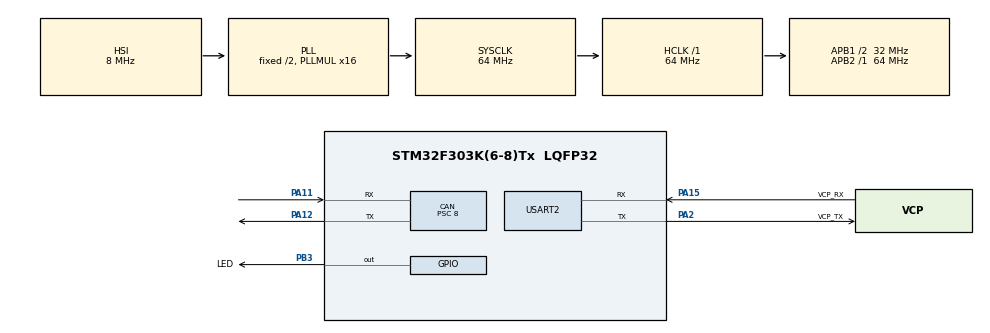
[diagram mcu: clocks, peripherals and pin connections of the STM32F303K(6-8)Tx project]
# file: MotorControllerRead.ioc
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CAN.BS1=CAN_BS1_2TQ
CAN.CalculateBaudRate=1000000
CAN.CalculateTimeBit=1000
CAN.CalculateTimeQuantum=250.0
CAN.Prescaler=8
Mcu.Family=STM32F3
Mcu.Name=STM32F303K(6-8)Tx
Mcu.Package=LQFP32
NVIC.CAN_RX0_IRQn=true\:0\:0\:false\:false\:true\:true\:true\:true
NVIC.CAN_RX1_IRQn=true\:0\:0\:false\:false\:true\:true\:true\:true
NVIC.CAN_SCE_IRQn=true\:0\:0\:false\:false\:true\:true\:true\:true
NVIC.CAN_TX_IRQn=true\:0\:0\:false\:false\:true\:true\:true\:true
NVIC.PriorityGroup=NVIC_PRIORITYGROUP_4
PA11.GPIO_PuPd=GPIO_PULLUP
PA11.Mode=CAN_Activate
PA11.Signal=CAN_RX
PA12.Mode=CAN_Activate
PA12.Signal=CAN_TX
PA13.GPIO_Label=SWDIO
PA13.Mode=Serial_Wire
PA13.Signal=SYS_JTMS-SWDIO
PA14.GPIO_Label=SWCLK
PA14.Mode=Serial_Wire
PA14.Signal=SYS_JTCK-SWCLK
PA15.GPIO_Label=VCP_RX
PA15.Mode=Asynchronous
PA15.Signal=USART2_RX
PA2.GPIO_Label=VCP_TX
PA2.Mode=Asynchronous
PA2.Signal=USART2_TX
PB3.GPIO_Label=LED
PB3.Signal=GPIO_Output
PF0\ /\ OSC_IN.GPIO_Label=MCO
PF0\ /\ OSC_IN.Mode=HSE-External-Clock-Source
PF0\ /\ OSC_IN.Signal=RCC_OSC_IN
ProjectManager.HeapSize=0x200
ProjectManager.StackSize=0x400
ProjectManager.TargetToolchain=STM32CubeIDE
RCC.AHBFreq_Value=64000000
RCC.APB1CLKDivider=RCC_HCLK_DIV2
RCC.APB1Freq_Value=32000000
RCC.APB1TimFreq_Value=64000000
RCC.APB2Freq_Value=64000000
RCC.APB2TimFreq_Value=64000000
RCC.CortexFreq_Value=64000000
RCC.HCLKFreq_Value=64000000
RCC.HSE_VALUE=8000000
RCC.HSI_VALUE=8000000
RCC.PLLMUL=RCC_PLL_MUL16
RCC.SYSCLKFreq_VALUE=64000000
RCC.SYSCLKSourceVirtual=RCC_SYSCLKSOURCE_PLLCLK
USART2.VirtualMode-Asynchronous=VM_ASYNC
board=NUCLEO-F303K8

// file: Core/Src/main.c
/* USER CODE BEGIN Header */
/**
  ******************************************************************************
  * @file           : main.c
  * @brief          : Main program body
  ******************************************************************************
  * @attention
  *
  * Copyright (c) 2025 STMicroelectronics.
  * All rights reserved.
  *
  * This software is licensed under terms that can be found in the LICENSE file
  * in the root directory of this software component.
  * If no LICENSE file comes with this software, it is provided AS-IS.
  *
  ******************************************************************************
  */
/* USER CODE END Header */
#include "main.h"

/* USER CODE BEGIN Includes */
#include <stdbool.h>

/* USER CODE END Includes */

CAN_HandleTypeDef hcan;

UART_HandleTypeDef huart2;

void SystemClock_Config(void);
static void MX_GPIO_Init(void);
static void MX_USART2_UART_Init(void);
static void MX_CAN_Init(void);

/* USER CODE BEGIN 0 */
bool received = false;
CAN_RxHeaderTypeDef RxHeader;
uint8_t RxData[8];
uint32_t TxMailbox;
CAN_TxHeaderTypeDef TxHeader;
uint8_t TxData[8];

void HAL_CAN_RxFifo0MsgPendingCallback(CAN_HandleTypeDef *hcan)
{
	HAL_CAN_GetRxMessage(hcan, CAN_RX_FIFO0, &RxHeader, RxData);
	received = true;
}

void sendMessage8(int DLC, int d0, int d1, int d2, int d3, int d4, int d5, int d6, int d7)
{
	received = false;

	  TxHeader.DLC = DLC;
	  TxHeader.IDE = CAN_ID_STD;
	  TxHeader.RTR = CAN_RTR_DATA;
	  TxHeader.StdId = 0x6B; // ID

	  TxData[0] = d0;
	  TxData[1] = d1;
	  TxData[2] = d2;
	  TxData[3] = d3;
	  TxData[4] = d4;
	  TxData[5] = d5;
	  TxData[6] = d6;
	  TxData[7] = d7;

	  if(HAL_CAN_AddTxMessage(&hcan, &TxHeader, TxData, &TxMailbox) != HAL_OK) while(true)
	  {
		  HAL_GPIO_TogglePin(LED_GPIO_Port, LED_Pin);
		  HAL_Delay(100);
	  }
	  HAL_Delay(100);
}

void sendMessage7(int DLC, int d0, int d1, int d2, int d3, int d4, int d5, int d6)
{
	sendMessage8(DLC, d0, d1, d2, d3, d4, d5, d6, 0);
}

void sendMessage6(int DLC, int d0, int d1, int d2, int d3, int d4, int d5)
{
	sendMessage7(DLC, d0, d1, d2, d3, d4, d5, 0);
}

void sendMessage5(int DLC, int d0, int d1, int d2, int d3, int d4)
{
	sendMessage6(DLC, d0, d1, d2, d3, d4, 0);
}

void sendMessage4(int DLC, int d0, int d1, int d2, int d3)
{
	sendMessage5(DLC, d0, d1, d2, d3, 0);
}

void sendMessage3(int DLC, int d0, int d1, int d2)
{
	sendMessage4(DLC, d0, d1, d2, 0);
}

void sendMessage2(int DLC, int d0, int d1)
{
	sendMessage3(DLC, d0, d1, 0);
}

void sendMessage1(int DLC, int d0)
{
	sendMessage2(DLC, d0, 0);
}

void sendMessage0(int DLC)
{
	sendMessage1(DLC, 0);
}

void waitForMessage()
{
	HAL_GPIO_TogglePin(LED_GPIO_Port, LED_Pin);
	while(!received)
	{
		HAL_GPIO_TogglePin(LED_GPIO_Port, LED_Pin);
		HAL_Delay(1000);
	}
	HAL_GPIO_WritePin(LED_GPIO_Port, LED_Pin, 1);
}

/* USER CODE END 0 */

int main(void)
{

  /* MCU Configuration--------------------------------------------------------*/

  /* Reset of all peripherals, Initializes the Flash interface and the Systick. */
  HAL_Init();

  /* Configure the system clock */
  SystemClock_Config();

  /* USER CODE BEGIN SysInit */
  MX_GPIO_Init();

  /* USER CODE END SysInit */

  /* Initialize all configured peripherals */
  MX_GPIO_Init();
  MX_USART2_UART_Init();
  MX_CAN_Init();
  /* USER CODE BEGIN 2 */
  HAL_CAN_Start(&hcan);
  HAL_CAN_ActivateNotification(&hcan, CAN_IT_RX_FIFO0_MSG_PENDING);
  HAL_Delay(30);

  /* USER CODE END 2 */

  /* Infinite loop */
  while (1)
  {

    /* USER CODE BEGIN 3 */

	HAL_GPIO_WritePin(LED_GPIO_Port, LED_Pin, 1);

	sendMessage1(1, 0xFF);//CCP_FLASH_READ   INFO_MODULE_NAME, get controller model
	waitForMessage();
	int error = RxData[0];

	sendMessage3(3, 0xF2, 64, 8);//CCP_FLASH_READ   INFO_MODULE_NAME, get controller model
	waitForMessage();
	char model[8];
	for(int i = 0; i < 8; i++) model[i] = (char)RxData[i];

	sendMessage3(3, 0xF2, 83, 2);//CCP_FLASH_READ   INFO_SOFTWARE_VER, get controller software version
	waitForMessage();
	uint8_t version[2];
	for(int i = 0; i < 2; i++) model[i] = RxData[i];

	sendMessage3(3, 0xF2, 4, 1);//CCP_FLASH_READ   CAL_TPS_DEAD_ZONE_LOW, get throttle low dead zone
	waitForMessage();
	int TLDeadZone = RxData[0]/2;

	sendMessage3(3, 0xF2, 5, 1);//CCP_FLASH_READ   CAL_TPS_DEAD_ZONE_HIGH, get throttle high dead zone
	waitForMessage();
	int THDeadZone = RxData[0]/2;

	sendMessage3(3, 0xF2, 38, 1);//CCP_FLASH_READ   CAL_BRAKE_DEAD_ZONE_LOW, get brake low dead zone
	waitForMessage();
	int BLDeadZone = RxData[0];

	sendMessage3(3, 0xF2, 39, 1);//CCP_FLASH_READ   CAL_BRAKE_DEAD_ZONE_HIGH, get brake high dead zone
	waitForMessage();
	int BHDeadZone = RxData[0];

	sendMessage1(1, 0x1B);//CCP_A2D_BATCH_READ1, BrakeA/D  TPS A/D  Operation Voltage A/D  Vs A/D  B+ A/D
	waitForMessage();
	double BrakeAD = RxData[0]/51.0;
	double TPSAD = RxData[1]/51.0;
	double OpVAD = RxData[2]/2.05;
	double VsAD = RxData[3]/25.0;
	double BPAD = RxData[4]/2.05;

	sendMessage1(1, 0x1A);//CCP_A2D_BATCH_READ2, la A/D  lb A/D  lc A/D Va A/D  Vb A/D  Vc A/D
	waitForMessage();
	int laAD = RxData[0];
	int lbAD = RxData[1];
	int lcAD = RxData[2];
	double VaAD = RxData[3]/2.05;
	double VbAD = RxData[4]/2.05;
	double VcAD = RxData[5]/2.05;

	sendMessage1(1, 0x33);//CCP_MONITOR1, PWM  enable motor rotation  mototr temp  controller temp  hot end MOSFET  cold end MOSFET
	waitForMessage();
	int PWM = RxData[0];
	bool motorOn = RxData[1] == 1;
	int motorTemp = RxData[2] - 80;
	int motorTempF = motorTemp * 9/5 + 32;
	bool motorTempConnected = motorTemp != 0xFF;
	int ContTemp = RxData[3];
	int ContTempHighMOSFET = RxData[4];
	int ContTempLowMOSFET = RxData[5];

	sendMessage1(1, 0x37);//CCP_MONITOR2, RPM  present current accounts for percent of the rated current of controller
	waitForMessage();
	int RPM = RxData[0] * 256;
	RPM += RxData[1];
	int PCAFPOTRCOC = RxData[2];

	sendMessage2(2, 0x42, 0);//COM_SW_ACC, Throttle switch
	waitForMessage();
	bool throttleSwitch = RxData[0] == 1;

	sendMessage2(2, 0x43, 0);//COM_SW_BRK, Brake switch
	waitForMessage();
	bool BrakeSwitch = RxData[0] == 1;

	sendMessage2(2, 0x44, 0);//COM_SW_REV, Reverse switch
	waitForMessage();
	bool ReverseSwitch = RxData[0] == 1;

	HAL_GPIO_WritePin(LED_GPIO_Port, LED_Pin, 0);
	HAL_Delay(10);
  }
  /* USER CODE END 3 */
}

void SystemClock_Config(void)
{
  RCC_OscInitTypeDef RCC_OscInitStruct = {0};
  RCC_ClkInitTypeDef RCC_ClkInitStruct = {0};

  /** Initializes the RCC Oscillators according to the specified parameters
  * in the RCC_OscInitTypeDef structure.
  */
  RCC_OscInitStruct.OscillatorType = RCC_OSCILLATORTYPE_HSI;
  RCC_OscInitStruct.HSIState = RCC_HSI_ON;
  RCC_OscInitStruct.HSICalibrationValue = RCC_HSICALIBRATION_DEFAULT;
  RCC_OscInitStruct.PLL.PLLState = RCC_PLL_ON;
  RCC_OscInitStruct.PLL.PLLSource = RCC_PLLSOURCE_HSI;
  RCC_OscInitStruct.PLL.PLLMUL = RCC_PLL_MUL16;
  if (HAL_RCC_OscConfig(&RCC_OscInitStruct) != HAL_OK)
  {
    Error_Handler();
  }

  /** Initializes the CPU, AHB and APB buses clocks
  */
  RCC_ClkInitStruct.ClockType = RCC_CLOCKTYPE_HCLK|RCC_CLOCKTYPE_SYSCLK
                              |RCC_CLOCKTYPE_PCLK1|RCC_CLOCKTYPE_PCLK2;
  RCC_ClkInitStruct.SYSCLKSource = RCC_SYSCLKSOURCE_PLLCLK;
  RCC_ClkInitStruct.AHBCLKDivider = RCC_SYSCLK_DIV1;
  RCC_ClkInitStruct.APB1CLKDivider = RCC_HCLK_DIV2;
  RCC_ClkInitStruct.APB2CLKDivider = RCC_HCLK_DIV1;

  if (HAL_RCC_ClockConfig(&RCC_ClkInitStruct, FLASH_LATENCY_2) != HAL_OK)
  {
    Error_Handler();
  }
}

static void MX_CAN_Init(void)
{

  hcan.Instance = CAN;
  hcan.Init.Prescaler = 8;
  hcan.Init.Mode = CAN_MODE_NORMAL;
  hcan.Init.SyncJumpWidth = CAN_SJW_1TQ;
  hcan.Init.TimeSeg1 = CAN_BS1_2TQ;
  hcan.Init.TimeSeg2 = CAN_BS2_1TQ;
  hcan.Init.TimeTriggeredMode = DISABLE;
  hcan.Init.AutoBusOff = DISABLE;
  hcan.Init.AutoWakeUp = DISABLE;
  hcan.Init.AutoRetransmission = DISABLE;
  hcan.Init.ReceiveFifoLocked = DISABLE;
  hcan.Init.TransmitFifoPriority = DISABLE;
  if (HAL_CAN_Init(&hcan) != HAL_OK)
  {
    Error_Handler();
  }
  /* USER CODE BEGIN CAN_Init 2 */
  CAN_FilterTypeDef canfilterconfig;

   canfilterconfig.FilterActivation = CAN_FILTER_ENABLE;
   canfilterconfig.FilterBank = 10;  // which filter bank to use from the assigned ones
   canfilterconfig.FilterFIFOAssignment = CAN_FILTER_FIFO0;
   canfilterconfig.FilterIdHigh = 0x73<<5;
   canfilterconfig.FilterIdLow = 0;
   canfilterconfig.FilterMaskIdHigh = 0x73<<5;
   canfilterconfig.FilterMaskIdLow = 0x0000;
   canfilterconfig.FilterMode = CAN_FILTERMODE_IDMASK;
   canfilterconfig.FilterScale = CAN_FILTERSCALE_32BIT;
   canfilterconfig.SlaveStartFilterBank = 0;  // how many filters to assign to the CAN1 (master can)

   HAL_CAN_ConfigFilter(&hcan, &canfilterconfig);

  /* USER CODE END CAN_Init 2 */

}

static void MX_USART2_UART_Init(void)
{

  huart2.Instance = USART2;
  huart2.Init.BaudRate = 38400;
  huart2.Init.WordLength = UART_WORDLENGTH_8B;
  huart2.Init.StopBits = UART_STOPBITS_1;
  huart2.Init.Parity = UART_PARITY_NONE;
  huart2.Init.Mode = UART_MODE_TX_RX;
  huart2.Init.HwFlowCtl = UART_HWCONTROL_NONE;
  huart2.Init.OverSampling = UART_OVERSAMPLING_16;
  huart2.Init.OneBitSampling = UART_ONE_BIT_SAMPLE_DISABLE;
  huart2.AdvancedInit.AdvFeatureInit = UART_ADVFEATURE_NO_INIT;
  if (HAL_UART_Init(&huart2) != HAL_OK)
  {
    Error_Handler();
  }

}

static void MX_GPIO_Init(void)
{
  GPIO_InitTypeDef GPIO_InitStruct = {0};

  /* GPIO Ports Clock Enable */
  __HAL_RCC_GPIOF_CLK_ENABLE();
  __HAL_RCC_GPIOA_CLK_ENABLE();
  __HAL_RCC_GPIOB_CLK_ENABLE();

  /*Configure GPIO pin Output Level */
  HAL_GPIO_WritePin(LED_GPIO_Port, LED_Pin, GPIO_PIN_RESET);

  /*Configure GPIO pin : LED_Pin */
  GPIO_InitStruct.Pin = LED_Pin;
  GPIO_InitStruct.Mode = GPIO_MODE_OUTPUT_PP;
  GPIO_InitStruct.Pull = GPIO_NOPULL;
  GPIO_InitStruct.Speed = GPIO_SPEED_FREQ_LOW;
  HAL_GPIO_Init(LED_GPIO_Port, &GPIO_InitStruct);

}

void Error_Handler(void)
{
  __disable_irq();
  while (1)
  {
  }
}
